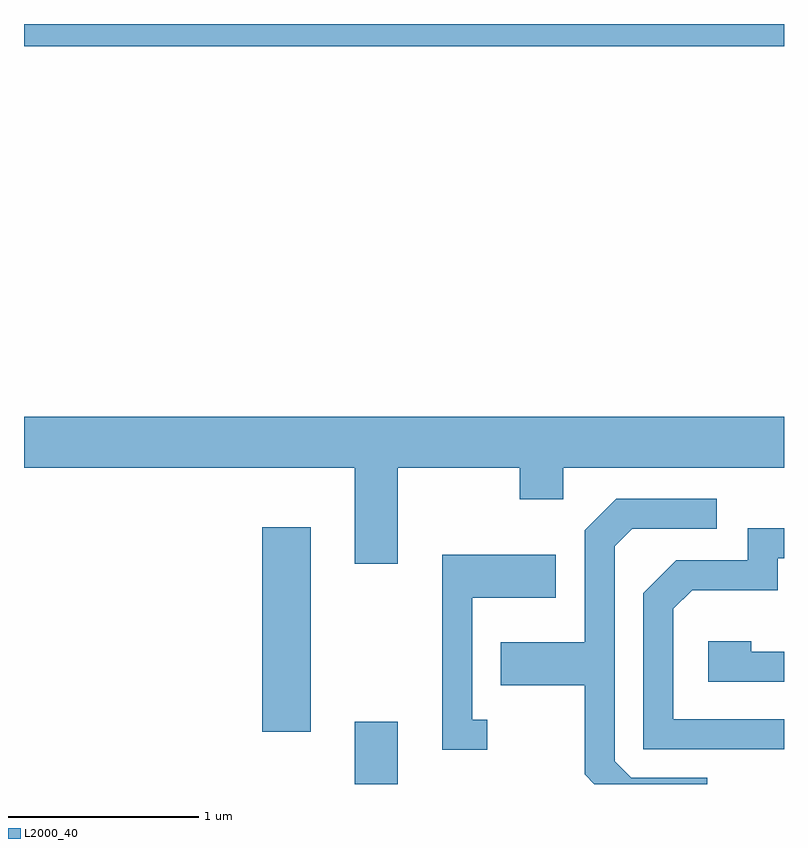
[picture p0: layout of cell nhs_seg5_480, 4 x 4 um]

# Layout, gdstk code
import gdstk
lib = gdstk.Library(unit=1e-6, precision=1e-09)
def R(c, l, rs):  # rectangles x0, y0, x1, y1
    for r in rs: c.add(gdstk.rectangle(r[:2], r[2:], *l))
def P(c, l, *ps):  # polygons
    for p in ps: c.add(gdstk.Polygon(p, *l))
L2000_40 = (2000, 40)

nhs_seg5_480 = lib.new_cell('nhs_seg5_480')
R(nhs_seg5_480, L2000_40, [(201.351,1404.072,201.579,1404.399), (200.866,1404.346,201.119,1405.424), (199.611,1407.956,203.611,1408.072)])
P(nhs_seg5_480, L2000_40, [(201.579,1405.736),(202.221,1405.736),(202.221,1405.571),(202.449,1405.571),(202.449,1405.736),(203.611,1405.736),(203.611,1406.004),(199.611,1406.004),(199.611,1405.736),(201.351,1405.736),(201.351,1405.231),(201.579,1405.231)],
  [(203.208,1404.104),(202.807,1404.104),(202.719,1404.192),(202.719,1405.324),(202.812,1405.416),(203.258,1405.416),(203.258,1405.574),(202.729,1405.574),(202.561,1405.407),(202.561,1404.819),(202.121,1404.819),(202.121,1404.591),(202.561,1404.591),(202.561,1404.124),(202.613,1404.072),(203.208,1404.072)],
  [(203.611,1404.414),(203.029,1404.414),(203.029,1404.994),(203.127,1405.091),(203.579,1405.091),(203.579,1405.261),(203.611,1405.261),(203.611,1405.419),(203.421,1405.419),(203.421,1405.249),(203.044,1405.249),(202.871,1405.077),(202.871,1404.256),(203.611,1404.256)],
  [(202.048,1404.409),(201.969,1404.409),(201.969,1405.051),(202.409,1405.051),(202.409,1405.279),(201.811,1405.279),(201.811,1404.251),(202.048,1404.251)],
  [(203.611,1404.769),(203.439,1404.769),(203.439,1404.824),(203.211,1404.824),(203.211,1404.611),(203.611,1404.611)])

lib.write_gds('nhs_seg5_480.gds')
